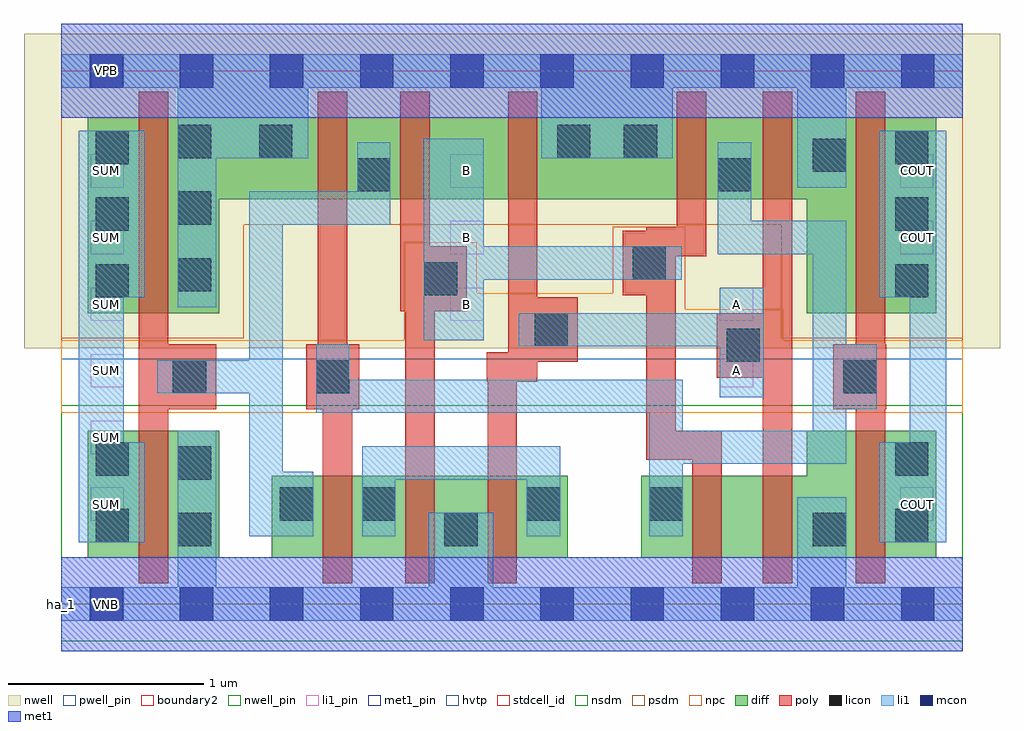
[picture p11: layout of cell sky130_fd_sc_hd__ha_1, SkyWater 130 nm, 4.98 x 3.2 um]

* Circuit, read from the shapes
.subckt sky130_fd_sc_hd__ha_1 A B COUT SUM VGND VNB VPB VPWR
XM1 VGND n1 SUM VNB sky130_fd_pr__nfet_01v8 w=0.65 l=0.15
XM2 n2 n3 n1 VNB sky130_fd_pr__nfet_01v8 w=0.42 l=0.15
XM3 VGND B n2 VNB sky130_fd_pr__nfet_01v8 w=0.42 l=0.15
XM4 n2 A VGND VNB sky130_fd_pr__nfet_01v8 w=0.42 l=0.15
XM5 n4 B n3 VNB sky130_fd_pr__nfet_01v8 w=0.42 l=0.15
XM6 VGND A n4 VNB sky130_fd_pr__nfet_01v8 w=0.42 l=0.15
XM7 COUT n3 VGND VNB sky130_fd_pr__nfet_01v8 w=0.65 l=0.15
XM8 VPWR n1 SUM VPB sky130_fd_pr__pfet_01v8_hvt w=1 l=0.15
XM9 n1 n3 VPWR VPB sky130_fd_pr__pfet_01v8_hvt w=0.42 l=0.15
XM10 n5 B n1 VPB sky130_fd_pr__pfet_01v8_hvt w=0.42 l=0.15
XM11 VPWR A n5 VPB sky130_fd_pr__pfet_01v8_hvt w=0.42 l=0.15
XM12 n3 B VPWR VPB sky130_fd_pr__pfet_01v8_hvt w=0.42 l=0.15
XM13 VPWR A n3 VPB sky130_fd_pr__pfet_01v8_hvt w=0.42 l=0.15
XM14 COUT n3 VPWR VPB sky130_fd_pr__pfet_01v8_hvt w=1 l=0.15
.ends

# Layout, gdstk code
import gdstk
lib = gdstk.Library(unit=1e-6, precision=1e-09)
def R(c, l, rs):  # rectangles x0, y0, x1, y1
    for r in rs: c.add(gdstk.rectangle(r[:2], r[2:], *l))
def A(c, l, x, y, w, h, nx, ny, dx, dy):  # array of equal rectangles
    R(c, l, [(x+i*dx, y+j*dy, x+i*dx+w, y+j*dy+h) for i in range(nx) for j in range(ny)])
def P(c, l, *ps):  # polygons
    for p in ps: c.add(gdstk.Polygon(p, *l))
nwell_pin = (64, 16)
nwell = (64, 20)
diff = (65, 20)
poly = (66, 20)
licon = (66, 44)
li1_pin = (67, 16)
li1 = (67, 20)
mcon = (67, 44)
met1_pin = (68, 16)
met1 = (68, 20)
hvtp = (78, 44)
stdcell_id = (81, 4)
nsdm = (93, 44)
psdm = (94, 20)
npc = (95, 20)
pwell_pin = (122, 16)
boundary2 = (236, 0)

sky130_fd_sc_hd__ha_1 = lib.new_cell('sky130_fd_sc_hd__ha_1')
R(sky130_fd_sc_hd__ha_1, nwell_pin, [(0.15,2.635,0.32,2.805)])
R(sky130_fd_sc_hd__ha_1, nwell, [(-0.19,1.305,4.79,2.91)])
R(sky130_fd_sc_hd__ha_1, diff, [(0.135,0.235,0.805,0.885), (1.075,0.235,2.585,0.655)])
P(sky130_fd_sc_hd__ha_1, diff, [(4.465,2.485),(0.135,2.485),(0.135,1.485),(0.805,1.485),(0.805,2.065),(3.805,2.065),(3.805,1.485),(4.465,1.485)],
  [(4.465,0.885),(3.805,0.885),(3.805,0.655),(2.96,0.655),(2.96,0.235),(4.465,0.235)])
R(sky130_fd_sc_hd__ha_1, poly, [(1.335,0.105,1.485,1.005), (1.755,0.105,1.905,1.51), (2.175,0.105,2.325,1.155)])
P(sky130_fd_sc_hd__ha_1, poly, [(0.79,1.325),(0.545,1.325),(0.545,2.615),(0.395,2.615),(0.395,0.105),(0.545,0.105),(0.545,0.995),(0.79,0.995)],
  [(1.52,1.325),(1.46,1.325),(1.46,2.615),(1.31,2.615),(1.31,1.325),(1.25,1.325),(1.25,0.995),(1.52,0.995)],
  [(2.07,1.825),(1.88,1.825),(1.88,2.615),(1.73,2.615),(1.73,1.495),(2.07,1.495)],
  [(2.635,1.565),(2.43,1.565),(2.43,2.615),(2.28,2.615),(2.28,1.285),(2.17,1.285),(2.17,1.135),(2.43,1.135),(2.43,1.235),(2.635,1.235)],
  [(3.37,0.885),(3.135,0.885),(3.135,1.775),(3.29,1.775),(3.29,2.615),(3.14,2.615),(3.14,1.925),(2.985,1.925),(2.985,1.905),(2.865,1.905),(2.865,1.575),(2.985,1.575),(2.985,0.735),(3.22,0.735),(3.22,0.105),(3.37,0.105)],
  [(3.73,2.615),(3.58,2.615),(3.58,1.485),(3.345,1.485),(3.345,1.155),(3.58,1.155),(3.58,0.105),(3.73,0.105)],
  [(4.21,1.325),(4.205,1.325),(4.205,2.615),(4.055,2.615),(4.055,1.325),(3.94,1.325),(3.94,0.995),(4.055,0.995),(4.055,0.105),(4.205,0.105),(4.205,0.995),(4.21,0.995)])
A(sky130_fd_sc_hd__ha_1, licon, 0.175, 1.565, 0.17, 0.17, 1, 3, 0, 0.34)
A(sky130_fd_sc_hd__ha_1, licon, 4.255, 1.565, 0.17, 0.17, 1, 3, 0, 0.34)
A(sky130_fd_sc_hd__ha_1, licon, 0.595, 1.595, 0.17, 0.17, 1, 3, 0, 0.34)
R(sky130_fd_sc_hd__ha_1, licon, [(0.595,0.295,0.765,0.465), (1.955,0.295,2.125,0.465), (3.835,0.295,4.005,0.465), (0.175,0.315,0.345,0.485), (4.255,0.315,4.425,0.485), (1.115,0.425,1.285,0.595), (1.535,0.425,1.705,0.595), (2.375,0.425,2.545,0.595), (3,0.425,3.17,0.595), (0.595,0.635,0.765,0.805), (0.175,0.655,0.345,0.825), (4.255,0.655,4.425,0.825), (0.57,1.075,0.74,1.245), (1.3,1.075,1.47,1.245), (3.99,1.075,4.16,1.245), (3.395,1.235,3.565,1.405), (2.415,1.315,2.585,1.485), (1.85,1.575,2.02,1.745), (2.915,1.655,3.085,1.825), (1.51,2.105,1.68,2.275), (3.35,2.105,3.52,2.275), (3.835,2.205,4.005,2.375), (1.01,2.275,1.18,2.445), (2.53,2.275,2.7,2.445), (2.87,2.275,3.04,2.445)])
A(sky130_fd_sc_hd__ha_1, li1_pin, 0.15, 0.425, 0.17, 0.17, 1, 6, 0, 0.34)
A(sky130_fd_sc_hd__ha_1, li1_pin, 1.985, 1.445, 0.17, 0.17, 1, 3, 0, 0.34)
R(sky130_fd_sc_hd__ha_1, li1_pin, [(4.28,0.425,4.45,0.595), (3.36,1.105,3.53,1.275), (3.36,1.445,3.53,1.615), (4.28,1.785,4.45,1.955), (4.28,2.125,4.45,2.295)])
P(sky130_fd_sc_hd__ha_1, li1, [(0.425,0.825),(0.32,0.825),(0.32,1.565),(0.425,1.565),(0.425,2.415),(0.09,2.415),(0.09,0.315),(0.425,0.315)],
  [(4.6,0.085),(4.005,0.085),(4.005,0.545),(3.755,0.545),(3.755,0.085),(2.205,0.085),(2.205,0.465),(1.875,0.465),(1.875,0.085),(0.79,0.085),(0.79,0.885),(0.595,0.885),(0.595,0.085),(0,0.085),(0,-0.085),(4.6,-0.085)],
  [(4.6,2.805),(0,2.805),(0,2.635),(0.595,2.635),(0.595,1.515),(0.79,1.515),(0.79,2.275),(1.26,2.275),(1.26,2.635),(2.45,2.635),(2.45,2.275),(3.12,2.275),(3.12,2.635),(3.755,2.635),(3.755,2.125),(4.005,2.125),(4.005,2.635),(4.6,2.635)],
  [(4.515,2.415),(4.175,2.415),(4.175,1.565),(4.33,1.565),(4.33,0.825),(4.175,0.825),(4.175,0.315),(4.515,0.315)],
  [(4.16,1.325),(4.005,1.325),(4.005,1.955),(3.52,1.955),(3.52,2.355),(3.35,2.355),(3.35,1.785),(3.835,1.785),(3.835,0.885),(3.17,0.885),(3.17,1.145),(1.47,1.145),(1.47,1.325),(1.3,1.325),(1.3,0.975),(3,0.975),(3,0.345),(3.17,0.345),(3.17,0.715),(4.005,0.715),(4.005,0.995),(4.16,0.995)],
  [(3.585,1.615),(3.36,1.615),(3.36,1.485),(2.335,1.485),(2.335,1.315),(3.36,1.315),(3.36,1.055),(3.585,1.055)],
  [(3.165,1.825),(2.155,1.825),(2.155,2.375),(1.85,2.375),(1.85,1.345),(2.155,1.345),(2.155,1.655),(3.165,1.655)],
  [(1.68,2.355),(1.51,2.355),(1.51,2.105),(0.96,2.105),(0.96,1.245),(0.49,1.245),(0.49,1.075),(0.96,1.075),(0.96,0.345),(1.285,0.345),(1.285,0.675),(1.13,0.675),(1.13,1.935),(1.68,1.935)])
A(sky130_fd_sc_hd__ha_1, mcon, 0.145, -0.085, 0.17, 0.17, 10, 2, 0.46, 2.72)
R(sky130_fd_sc_hd__ha_1, met1_pin, [(0.15,-0.085,0.32,0.085), (0.15,2.635,0.32,2.805)])
R(sky130_fd_sc_hd__ha_1, hvtp, [(0,1.25,4.6,2.72)])
R(sky130_fd_sc_hd__ha_1, stdcell_id, [(0,0,4.6,2.72)])
R(sky130_fd_sc_hd__ha_1, nsdm, [(0,-0.19,4.6,1.015)])
P(sky130_fd_sc_hd__ha_1, psdm, [(4.6,2.91),(0,2.91),(0,1.355),(0.93,1.355),(0.93,1.935),(3.675,1.935),(3.675,1.355),(4.6,1.355)])
P(sky130_fd_sc_hd__ha_1, npc, [(4.6,1.345),(3.685,1.345),(3.685,1.505),(3.185,1.505),(3.185,1.925),(2.815,1.925),(2.815,1.585),(2.12,1.585),(2.12,1.845),(1.75,1.845),(1.75,1.345),(0,1.345),(0,0.975),(4.6,0.975)])
R(sky130_fd_sc_hd__ha_1, pwell_pin, [(0.15,-0.085,0.32,0.085)])
R(sky130_fd_sc_hd__ha_1, boundary2, [(0,0,4.6,2.72)])
sky130_fd_sc_hd__ha_1.add(gdstk.FlexPath([(0,2.72),(4.6,2.72)], 0.48, ends="flush", simple_path=True, layer=68, datatype=20))  # met1
sky130_fd_sc_hd__ha_1.add(gdstk.FlexPath([(0,0),(4.6,0)], 0.48, ends="flush", simple_path=True, layer=68, datatype=20))  # met1
sky130_fd_sc_hd__ha_1.add(gdstk.FlexPath([(2.46,0.345),(2.46,0.72),(1.62,0.72),(1.62,0.345)], 0.17, ends="flush", simple_path=True, layer=67, datatype=20))  # li1
sky130_fd_sc_hd__ha_1.add(gdstk.Label('VNB', (0.23,0), layer=64, texttype=59))
sky130_fd_sc_hd__ha_1.add(gdstk.Label('VPB', (0.23,2.72), layer=64, texttype=5))
sky130_fd_sc_hd__ha_1.add(gdstk.Label('VGND', (0.23,0), layer=68, texttype=5))
sky130_fd_sc_hd__ha_1.add(gdstk.Label('VPWR', (0.23,2.72), layer=68, texttype=5))
sky130_fd_sc_hd__ha_1.add(gdstk.Label('B', (2.07,2.21), layer=67, texttype=5))
sky130_fd_sc_hd__ha_1.add(gdstk.Label('A', (3.445,1.19), layer=67, texttype=5))
sky130_fd_sc_hd__ha_1.add(gdstk.Label('COUT', (4.37,1.87), layer=67, texttype=5))
sky130_fd_sc_hd__ha_1.add(gdstk.Label('COUT', (4.37,0.51), layer=67, texttype=5))
sky130_fd_sc_hd__ha_1.add(gdstk.Label('SUM', (0.23,0.51), layer=67, texttype=5))
sky130_fd_sc_hd__ha_1.add(gdstk.Label('SUM', (0.23,0.85), layer=67, texttype=5))
sky130_fd_sc_hd__ha_1.add(gdstk.Label('SUM', (0.23,1.19), layer=67, texttype=5))
sky130_fd_sc_hd__ha_1.add(gdstk.Label('SUM', (0.23,1.53), layer=67, texttype=5))
sky130_fd_sc_hd__ha_1.add(gdstk.Label('SUM', (0.23,1.87), layer=67, texttype=5))
sky130_fd_sc_hd__ha_1.add(gdstk.Label('SUM', (0.23,2.21), layer=67, texttype=5))
sky130_fd_sc_hd__ha_1.add(gdstk.Label('COUT', (4.37,2.21), layer=67, texttype=5))
sky130_fd_sc_hd__ha_1.add(gdstk.Label('A', (3.445,1.53), layer=67, texttype=5))
sky130_fd_sc_hd__ha_1.add(gdstk.Label('B', (2.07,1.87), layer=67, texttype=5))
sky130_fd_sc_hd__ha_1.add(gdstk.Label('B', (2.07,1.53), layer=67, texttype=5))
sky130_fd_sc_hd__ha_1.add(gdstk.Label('ha_1', (0,0), layer=83, texttype=44))

lib.write_gds('sky130_fd_sc_hd__ha_1.gds')
